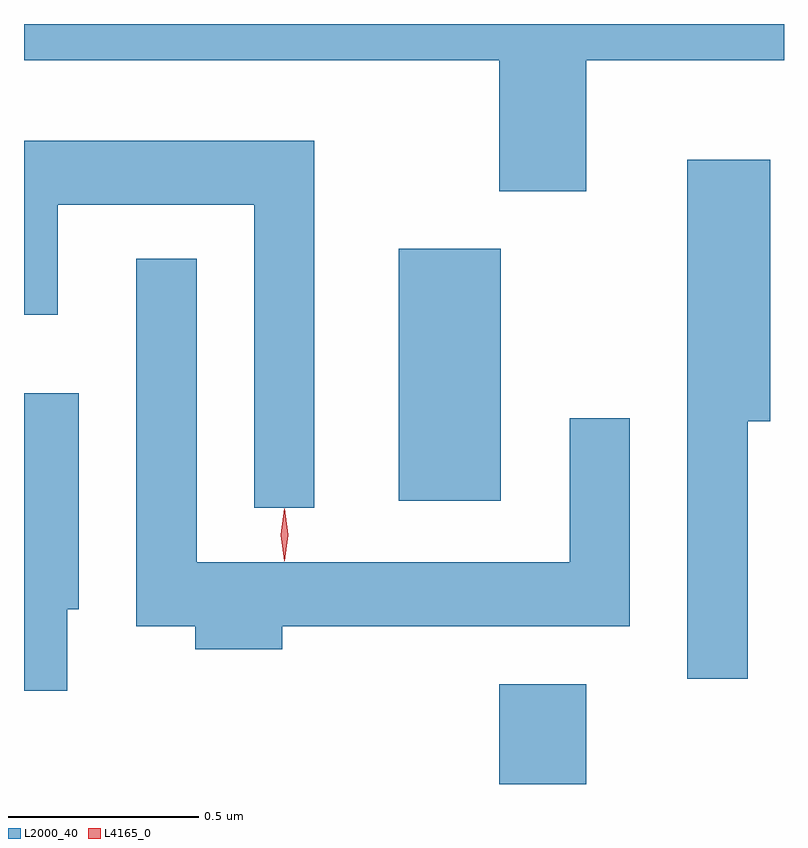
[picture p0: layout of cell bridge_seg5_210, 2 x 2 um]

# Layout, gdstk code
import gdstk
lib = gdstk.Library(unit=1e-6, precision=1e-09)
def R(c, l, rs):  # rectangles x0, y0, x1, y1
    for r in rs: c.add(gdstk.rectangle(r[:2], r[2:], *l))
def P(c, l, *ps):  # polygons
    for p in ps: c.add(gdstk.Polygon(p, *l))
L2000_40 = (2000, 40)
L4165_0 = (4165, 0)

bridge_seg5_210 = lib.new_cell('bridge_seg5_210')
R(bridge_seg5_210, L2000_40, [(1314.051,1428.251,1314.279,1428.514), (1313.786,1428.996,1314.054,1429.659)])
P(bridge_seg5_210, L2000_40, [(1314.279,1430.156),(1314.8,1430.156),(1314.8,1430.251),(1312.8,1430.251),(1312.8,1430.156),(1314.051,1430.156),(1314.051,1429.811),(1314.279,1429.811)],
  [(1313.564,1429.944),(1312.8,1429.944),(1312.8,1429.486),(1312.889,1429.486),(1312.889,1429.776),(1313.406,1429.776),(1313.406,1428.978),(1313.564,1428.978)],
  [(1314.704,1429.206),(1314.764,1429.206),(1314.764,1429.894),(1314.546,1429.894),(1314.546,1428.528),(1314.704,1428.528)],
  [(1313.479,1428.666),(1314.394,1428.666),(1314.394,1429.213),(1314.236,1429.213),(1314.236,1428.834),(1313.254,1428.834),(1313.254,1429.633),(1313.096,1429.633),(1313.096,1428.666),(1313.251,1428.666),(1313.251,1428.606),(1313.479,1428.606)],
  [(1312.914,1428.711),(1312.944,1428.711),(1312.944,1429.279),(1312.8,1429.279),(1312.8,1428.496),(1312.914,1428.496)])
P(bridge_seg5_210, L4165_0, [(1313.485,1428.837),(1313.485,1428.838),(1313.475,1428.907),(1313.485,1428.976),(1313.485,1428.976),(1313.486,1428.976),(1313.495,1428.907),(1313.486,1428.838)],
  [(1313.485,1428.839),(1313.485,1428.84),(1313.475,1428.906),(1313.485,1428.972),(1313.485,1428.973),(1313.486,1428.972),(1313.495,1428.906),(1313.486,1428.84)])

lib.write_gds('bridge_seg5_210.gds')
